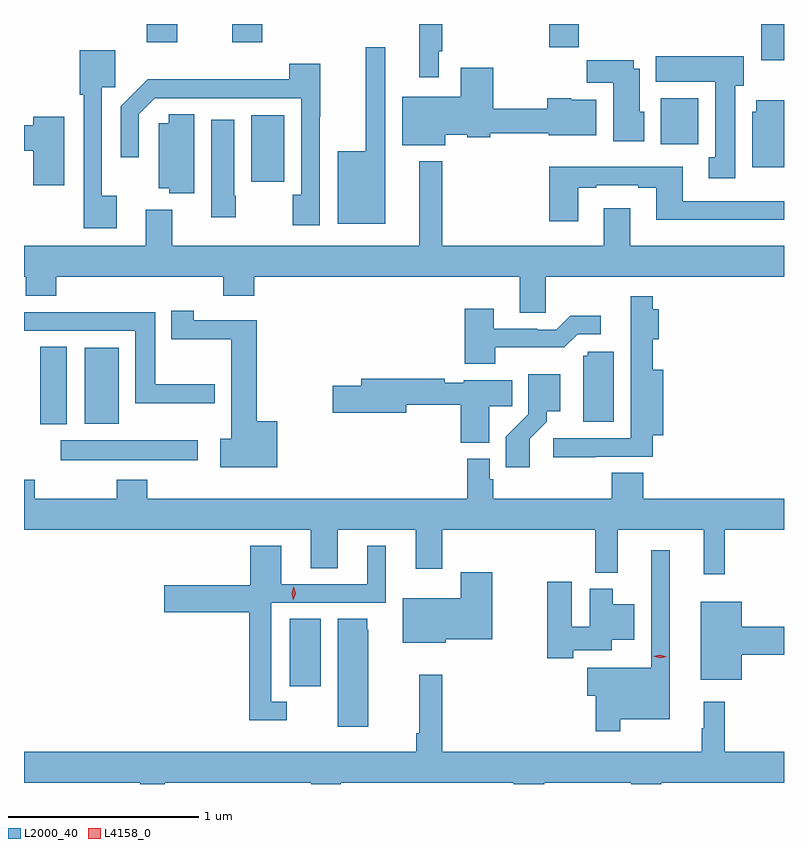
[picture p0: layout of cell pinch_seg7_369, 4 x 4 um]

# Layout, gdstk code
import gdstk
lib = gdstk.Library(unit=1e-6, precision=1e-09)
def R(c, l, rs):  # rectangles x0, y0, x1, y1
    for r in rs: c.add(gdstk.rectangle(r[:2], r[2:], *l))
def P(c, l, *ps):  # polygons
    for p in ps: c.add(gdstk.Polygon(p, *l))
L2000_40 = (2000, 40)
L4158_0 = (4158, 0)

pinch_seg7_369 = lib.new_cell('pinch_seg7_369')
R(pinch_seg7_369, L2000_40, [(374.456,1002.456,374.62,1002.812), (373.251,1003.646,373.972,1003.75), (373.142,1003.835,373.282,1004.243), (373.376,1003.838,373.555,1004.239), (376.409,1005.308,376.606,1005.55), (376.937,1005.75,377.057,1005.942), (375.821,1005.82,375.977,1005.942), (373.703,1005.845,373.863,1005.942), (374.152,1005.845,374.312,1005.942)])
P(pinch_seg7_369, L2000_40, [(375.241,1005.799),(375.259,1005.799),(375.259,1005.942),(375.137,1005.942),(375.137,1005.663),(375.241,1005.663)],
  [(374.959,1005.82),(374.855,1005.82),(374.855,1005.271),(374.708,1005.271),(374.708,1004.891),(374.959,1004.891)],
  [(373.546,1005.038),(373.467,1005.038),(373.467,1005.609),(373.536,1005.609),(373.536,1005.805),(373.351,1005.805),(373.351,1005.569),(373.371,1005.569),(373.371,1004.868),(373.546,1004.868)],
  [(376.801,1005.618),(376.846,1005.618),(376.846,1005.772),(376.382,1005.772),(376.382,1005.638),(376.694,1005.638),(376.694,1005.242),(376.661,1005.242),(376.661,1005.129),(376.801,1005.129)],
  [(376.321,1005.48),(376.297,1005.48),(376.297,1005.706),(376.267,1005.706),(376.267,1005.751),(376.018,1005.751),(376.018,1005.632),(376.157,1005.632),(376.157,1005.326),(376.321,1005.326)],
  [(374.613,1005.455),(374.616,1005.455),(374.616,1005.733),(374.453,1005.733),(374.453,1005.65),(373.707,1005.65),(373.566,1005.508),(373.566,1005.24),(373.662,1005.24),(373.662,1005.468),(373.746,1005.552),(374.517,1005.552),(374.517,1005.043),(374.471,1005.043),(374.471,1004.883),(374.613,1004.883)],
  [(375.274,1005.359),(375.39,1005.359),(375.39,1005.347),(375.51,1005.347),(375.51,1005.367),(375.818,1005.367),(375.818,1005.356),(376.069,1005.356),(376.069,1005.544),(375.936,1005.544),(375.936,1005.55),(375.811,1005.55),(375.811,1005.496),(375.527,1005.496),(375.527,1005.712),(375.356,1005.712),(375.356,1005.559),(375.047,1005.559),(375.047,1005.305),(375.274,1005.305)],
  [(377.057,1005.541),(376.91,1005.541),(376.91,1005.48),(376.889,1005.48),(376.889,1005.188),(377.057,1005.188)],
  [(373.954,1005.467),(373.818,1005.467),(373.818,1005.42),(373.766,1005.42),(373.766,1005.077),(373.821,1005.077),(373.821,1005.05),(373.954,1005.05)],
  [(374.427,1005.214),(374.428,1005.214),(374.428,1005.463),(374.252,1005.463),(374.252,1005.111),(374.427,1005.111)],
  [(373.27,1005.454),(373.105,1005.454),(373.105,1005.41),(373.057,1005.41),(373.057,1005.274),(373.105,1005.274),(373.105,1005.093),(373.27,1005.093)],
  [(374.172,1005.037),(374.164,1005.037),(374.164,1005.439),(374.042,1005.439),(374.042,1004.925),(374.172,1004.925)],
  [(375.804,1004.612),(377.057,1004.612),(377.057,1004.776),(376.249,1004.776),(376.249,1004.971),(376.109,1004.971),(376.109,1004.776),(375.259,1004.776),(375.259,1005.22),(375.137,1005.22),(375.137,1004.776),(373.837,1004.776),(373.837,1004.965),(373.697,1004.965),(373.697,1004.776),(373.057,1004.776),(373.057,1004.612),(373.066,1004.612),(373.066,1004.513),(373.226,1004.513),(373.226,1004.612),(374.105,1004.612),(374.105,1004.513),(374.27,1004.513),(374.27,1004.612),(375.665,1004.612),(375.665,1004.422),(375.804,1004.422)],
  [(375.973,1005.081),(376.069,1005.081),(376.069,1005.093),(376.289,1005.093),(376.289,1005.081),(376.385,1005.081),(376.385,1004.912),(377.057,1004.912),(377.057,1005.009),(376.525,1005.009),(376.525,1005.19),(375.821,1005.19),(375.821,1004.904),(375.973,1004.904)],
  [(376.067,1003.665),(376.367,1003.665),(376.367,1003.778),(376.421,1003.778),(376.421,1004.122),(376.367,1004.122),(376.367,1004.282),(376.397,1004.282),(376.397,1004.44),(376.367,1004.44),(376.367,1004.509),(376.25,1004.509),(376.25,1004.286),(376.251,1004.286),(376.251,1004.018),(376.25,1004.018),(376.25,1003.761),(375.843,1003.761),(375.843,1003.663),(376.067,1003.663)],
  [(375.537,1004.24),(375.901,1004.24),(375.972,1004.31),(376.093,1004.31),(376.093,1004.407),(375.931,1004.407),(375.858,1004.334),(375.758,1004.334),(375.758,1004.337),(375.529,1004.337),(375.529,1004.443),(375.377,1004.443),(375.377,1004.153),(375.537,1004.153)],
  [(374.389,1003.852),(374.282,1003.852),(374.282,1004.383),(373.95,1004.383),(373.95,1004.434),(373.832,1004.434),(373.832,1004.284),(374.147,1004.284),(374.147,1003.76),(374.091,1003.76),(374.091,1003.61),(374.389,1003.61)],
  [(374.062,1004.046),(373.747,1004.046),(373.747,1004.426),(373.309,1004.426),(373.309,1004.424),(373.057,1004.424),(373.057,1004.328),(373.643,1004.328),(373.643,1003.946),(374.062,1003.946)],
  [(376.162,1004.217),(376.023,1004.217),(376.023,1004.196),(376.001,1004.196),(376.001,1003.848),(376.162,1003.848)],
  [(375.718,1003.759),(375.808,1003.849),(375.808,1003.904),(375.88,1003.904),(375.88,1004.098),(375.711,1004.098),(375.711,1003.889),(375.592,1003.77),(375.592,1003.608),(375.718,1003.608)],
  [(375.505,1003.93),(375.626,1003.93),(375.626,1004.068),(375.372,1004.068),(375.372,1004.055),(375.272,1004.055),(375.272,1004.075),(374.831,1004.075),(374.831,1004.039),(374.682,1004.039),(374.682,1003.897),(375.07,1003.897),(375.07,1003.939),(375.356,1003.939),(375.356,1003.739),(375.505,1003.739)],
  [(376.744,1003.28),(377.057,1003.28),(377.057,1003.444),(376.316,1003.444),(376.316,1003.58),(376.151,1003.58),(376.151,1003.444),(375.527,1003.444),(375.527,1003.545),(375.507,1003.545),(375.507,1003.654),(375.391,1003.654),(375.391,1003.444),(373.706,1003.444),(373.706,1003.543),(373.546,1003.543),(373.546,1003.444),(373.113,1003.444),(373.113,1003.543),(373.057,1003.543),(373.057,1003.28),(374.567,1003.28),(374.567,1003.078),(374.707,1003.078),(374.707,1003.28),(375.119,1003.28),(375.119,1003.074),(375.259,1003.074),(375.259,1003.28),(376.063,1003.28),(376.063,1003.055),(376.181,1003.055),(376.181,1003.28),(376.634,1003.28),(376.634,1003.047),(376.744,1003.047)],
  [(374.44,1002.375),(374.358,1002.375),(374.358,1002.897),(374.962,1002.897),(374.962,1003.195),(374.864,1003.195),(374.864,1002.993),(374.41,1002.993),(374.41,1003.195),(374.249,1003.195),(374.249,1002.987),(373.794,1002.987),(373.794,1002.845),(374.242,1002.845),(374.242,1002.278),(374.44,1002.278)],
  [(376.195,1002.284),(376.456,1002.284),(376.456,1003.171),(376.359,1003.171),(376.359,1002.553),(376.022,1002.553),(376.022,1002.406),(376.066,1002.406),(376.066,1002.219),(376.195,1002.219)],
  [(375.276,1002.704),(375.522,1002.704),(375.522,1003.057),(375.356,1003.057),(375.356,1002.919),(375.05,1002.919),(375.05,1002.686),(375.276,1002.686)],
  [(375.948,1002.647),(376.15,1002.647),(376.15,1002.701),(376.27,1002.701),(376.27,1002.889),(376.156,1002.889),(376.156,1002.97),(376.034,1002.97),(376.034,1002.77),(375.94,1002.77),(375.94,1003.006),(375.811,1003.006),(375.811,1002.605),(375.948,1002.605)],
  [(376.834,1002.623),(377.057,1002.623),(377.057,1002.77),(376.834,1002.77),(376.834,1002.901),(376.619,1002.901),(376.619,1002.491),(376.834,1002.491)],
  [(374.869,1002.753),(374.863,1002.753),(374.863,1002.812),(374.708,1002.812),(374.708,1002.243),(374.869,1002.243)],
  [(373.799,1001.948),(374.57,1001.948),(374.57,1001.942),(374.723,1001.942),(374.723,1001.948),(375.635,1001.948),(375.635,1001.942),(375.795,1001.942),(375.795,1001.948),(376.252,1001.948),(376.252,1001.942),(376.412,1001.942),(376.412,1001.948),(377.057,1001.948),(377.057,1002.112),(376.744,1002.112),(376.744,1002.376),(376.634,1002.376),(376.634,1002.236),(376.623,1002.236),(376.623,1002.112),(375.257,1002.112),(375.257,1002.517),(375.136,1002.517),(375.136,1002.208),(375.121,1002.208),(375.121,1002.112),(373.057,1002.112),(373.057,1001.948),(373.669,1001.948),(373.669,1001.942),(373.799,1001.942)])
P(pinch_seg7_369, L4158_0, [(376.404,1002.603),(376.369,1002.615),(376.369,1002.615),(376.369,1002.615),(376.405,1002.623),(376.44,1002.612),(376.44,1002.612),(376.44,1002.611)],
  [(374.474,1002.909),(374.474,1002.909),(374.466,1002.946),(374.477,1002.981),(374.477,1002.981),(374.477,1002.981),(374.486,1002.945),(374.475,1002.909)])

lib.write_gds('pinch_seg7_369.gds')
